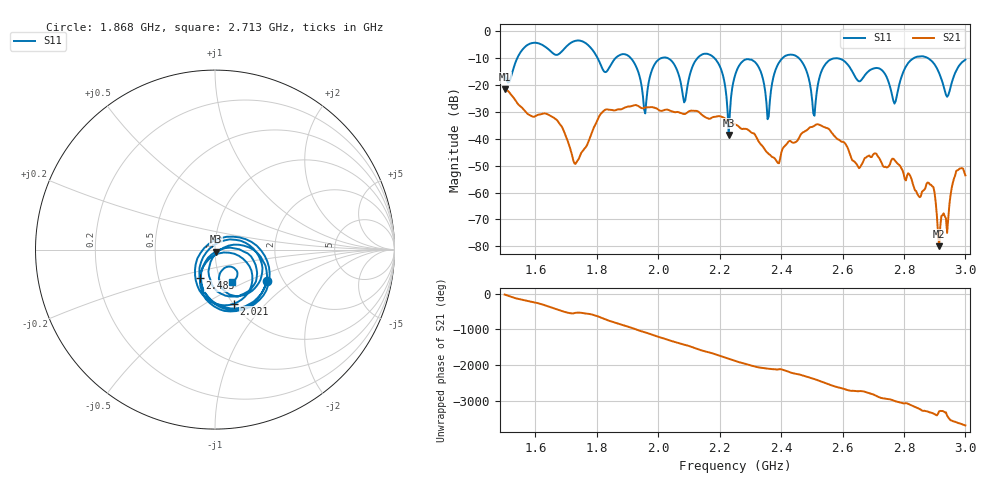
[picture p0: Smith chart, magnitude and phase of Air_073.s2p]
# HZ S RI R 50
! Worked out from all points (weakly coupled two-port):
!   404 points, 1.5 GHz to 3 GHz, reference 50 ohm
!   highest |S21| = -21.71 dB at 1.5 GHz (marker M1); lowest = -79.9 dB at 2.914 GHz (marker M2)
!   lowest |S11| = -38.7 dB at 2.23 GHz (marker M3), VSWR 1.02, Z = 50.5 - j1.07 ohm
!   |S11| at or under -10 dB: 2.182 GHz to 2.406 GHz (224.4 MHz wide, 9.78 % of centre); 2.456 GHz to 2.835 GHz (378.1 MHz wide, 14.3 % of centre); 2.875 GHz to end of sweep (the widest 3 of 7)
!   S12 and S22 are empty: the file has one direction only
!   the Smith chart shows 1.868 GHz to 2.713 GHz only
!   S11 on the Smith chart (normalised r, x): 1.868 GHz: 1.65, -0.65; 2.021 GHz: 1.01, -0.68; 2.483 GHz: 0.80, -0.26; 2.713 GHz: 1.12, -0.42
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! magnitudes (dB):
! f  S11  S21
! 1.5 GHz  -16.3  -21.7
! 1.753 GHz  -3.9  -44.8
! 1.868 GHz  -9.4  -29.2
! 1.958 GHz  -30.7  -28.4
! 2.002 GHz  -10.6  -29.4
! 2.021 GHz  -9.9  -29.4
! 2.084 GHz  -26.6  -30.9
! 2.177 GHz  -9.6  -32.1
! 2.23 GHz  -38.7  -33.8
! 2.252 GHz  -15.9  -34.8
! 2.315 GHz  -11.6  -38.5
! 2.356 GHz  -32.8  -45.3
! 2.408 GHz  -9.8  -43.2
! 2.483 GHz  -14.9  -37.0
! 2.501 GHz  -25.8  -35.7
! 2.561 GHz  -10.7  -37.2
! 2.713 GHz  -13.8  -46.3
! 2.751 GHz  -19.3  -50.2
! 2.888 GHz  -11.0  -57.1
! 2.914 GHz  -15.6  -79.9
! 2.94 GHz  -24.5  -75.0
! 3 GHz  -10.7  -53.6
